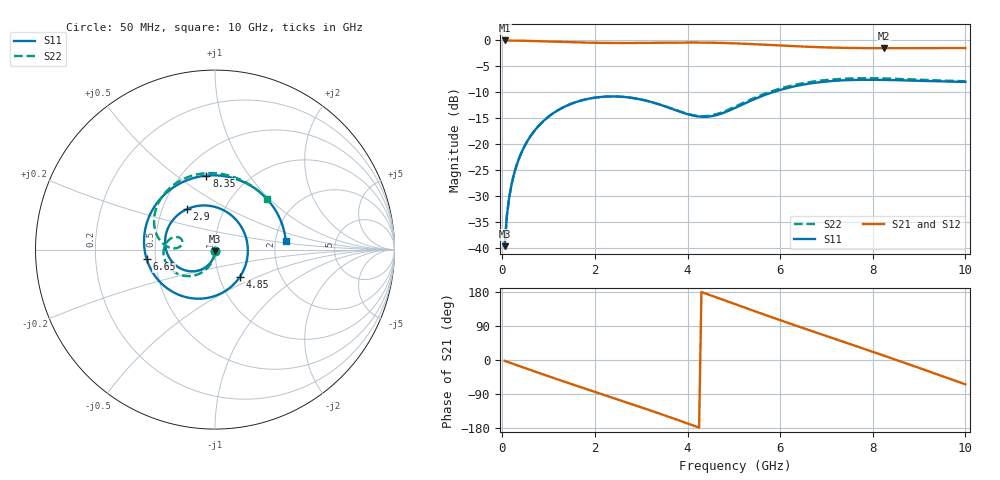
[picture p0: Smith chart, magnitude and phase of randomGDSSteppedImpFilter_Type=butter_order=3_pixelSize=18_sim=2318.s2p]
! freq	dB(S11)	phase(S11)	dB(S12)	phase(S12)
!  dB(S21)	phase(S21)	dB(S22)	phase(S22)
!S-par simulation data
#  GHz  S  DB  R 50
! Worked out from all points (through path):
!   200 points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, 50 MHz to 10 GHz, reference 50 ohm
!   highest |S21| = 0.00 dB at 50 MHz (marker M1); lowest = -1.5 dB at 8.25 GHz (marker M2)
!   group delay of S21, straight-line fit = 118 ps
!   lowest |S11| = -39.7 dB at 50 MHz (marker M3), VSWR 1.02, Z = 49.9 - j1.03 ohm
!   |S11| at or under -10 dB: start of sweep to 5.84 GHz
!   |S22| runs from -39.7 to -7.3 dB; largest |S21 - S12| = 0
!   S11 on the Smith chart (normalised r, x): 50 MHz: 1.00, -0.02; 2.9 GHz: 0.67, +0.33; 4.85 GHz: 1.25, -0.40; 6.65 GHz: 0.45, -0.06; 8.35 GHz: 0.65, +0.65; 10 GHz: 2.28, +0.25
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0.05  -39.72 -92.2  -0.00 -2.2  -0.00 -2.2  -39.73 -91.7
0.1  -33.75 -94.9  -0.01 -4.4  -0.01 -4.4  -33.74 -93.9
0.2  -27.81 -100.0  -0.02 -8.7  -0.02 -8.7  -27.81 -98.0
0.35  -23.07 -107.5  -0.04 -15.2  -0.04 -15.2  -23.06 -104.0
0.5  -20.09 -114.8  -0.07 -21.7  -0.07 -21.7  -20.09 -109.8
1  -14.71 -138.9  -0.20 -43.0  -0.20 -43.0  -14.71 -128.5
1.75  -11.49 -175.0  -0.40 -74.0  -0.40 -74.0  -11.49 -154.5
2.3  -10.82 157.6  -0.49 -96.3  -0.49 -96.3  -10.82 -171.7
2.9  -11.24 124.7  -0.49 -120.8  -0.49 -120.8  -11.24 172.4
3.4  -12.38 92.3  -0.44 -141.6  -0.44 -141.6  -12.38 163.4
4.15  -14.57 26.4  -0.40 -174.0  -0.40 -174.0  -14.48 165.2
4.85  -13.72 -48.1  -0.51 155.1  -0.51 155.1  -13.50 177.6
5.05  -12.94 -66.6  -0.57 146.3  -0.57 146.3  -12.69 178.3
5.45  -11.32 -98.5  -0.73 128.7  -0.73 128.7  -11.07 175.0
5.85  -9.97 -125.5  -0.91 111.5  -0.91 111.5  -9.71 167.4
6.65  -8.31 -172.0  -1.24 77.8  -1.24 77.8  -8.02 146.4
6.7  -8.24 -174.7  -1.26 75.7  -1.26 75.7  -7.96 145.0
7.4  -7.69 147.7  -1.44 46.7  -1.44 46.7  -7.39 124.2
8.25  -7.62 102.1  -1.50 11.1  -1.50 11.1  -7.34 98.4
8.35  -7.64 96.6  -1.50 6.9  -1.50 6.9  -7.37 95.3
9.15  -7.83 52.6  -1.48 -27.3  -1.48 -27.3  -7.63 71.1
10  -8.02 6.8  -1.47 -64.3  -1.47 -64.3  -7.87 44.7
